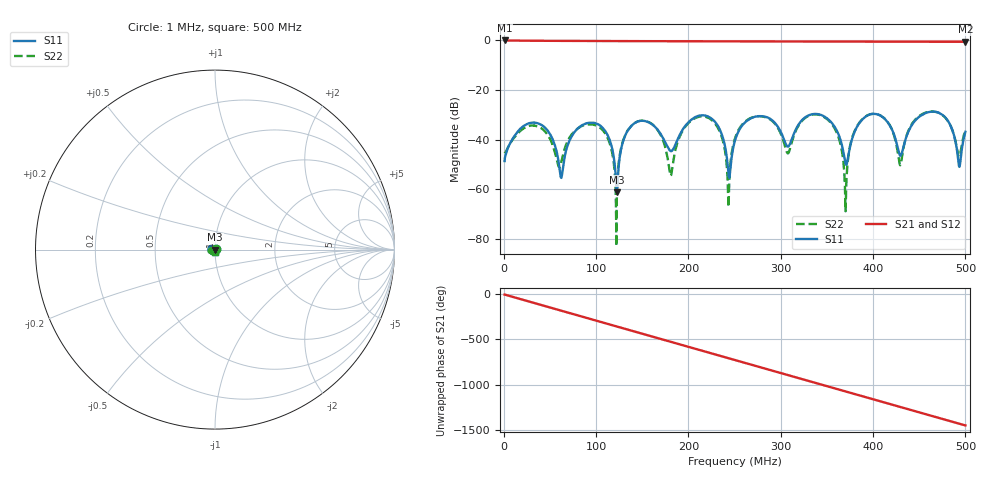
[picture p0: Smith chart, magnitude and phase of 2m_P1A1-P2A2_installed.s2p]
! MS46122B
! 1746301/73750021
! 11/1/2023 5:03:45 PM
! C:\USERS\SPEGWAL\DOWNLOADS\SAURABH\REACH\NODES\FRONT END\MEASUREMENTS\MEASURED S-PARAMETERS_01-11-2023\CABLES\2M_P1A1-P2A2_FIXED.S2P
! CHANNEL.1
! TR.MEASUREMENT
! CORRECTED.DATA
# GHZ S RI R 50.0
! FREQ.GHZ  S11RE  S11IM  S21RE  S21IM  S12RE  S12IM  S22RE  S22IM
!; PortSelection: Port_12
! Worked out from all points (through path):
!   2001 points, 1 MHz to 500 MHz, reference 50 ohm
!   highest |S21| = -0.02 dB at 1.25 MHz (marker M1); lowest = -0.5 dB at 500 MHz (marker M2)
!   group delay of S21, straight-line fit = 8.05 ns
!   lowest |S11| = -61.2 dB at 122.5 MHz (marker M3), VSWR 1.00, Z = 50.1 + j0.000771 ohm
!   |S11| at or under -10 dB: start of sweep to end of sweep
!   |S22| runs from -82.9 to -28.6 dB; largest |S21 - S12| = 0.0037
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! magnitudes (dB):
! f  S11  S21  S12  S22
! 1 MHz  -48.6  0.0  0.0  -45.5
! 1.25 MHz  -47.5  0.0  0.0  -45.4
! 36.18 MHz  -33.3  -0.1  -0.1  -34.6
! 62.38 MHz  -55.4  -0.2  -0.2  -49.1
! 84.33 MHz  -34.3  -0.2  -0.2  -34.5
! 110.3 MHz  -36.7  -0.3  -0.3  -37.7
! 122.5 MHz  -61.2  -0.3  -0.3  -63.2
! 136.2 MHz  -35.3  -0.3  -0.3  -35.3
! 167.4 MHz  -36.3  -0.3  -0.3  -36.5
! 180.9 MHz  -44.6  -0.3  -0.3  -54.6
! 223.3 MHz  -31.0  -0.4  -0.4  -31.5
! 243.5 MHz  -53.9  -0.4  -0.4  -67.1
! 250.5 MHz  -40.3  -0.4  -0.4  -39.5
! 307.9 MHz  -42.8  -0.4  -0.4  -45.5
! 333.8 MHz  -29.8  -0.4  -0.5  -29.9
! 358.8 MHz  -35.0  -0.5  -0.5  -35.7
! 370.3 MHz  -49.7  -0.5  -0.5  -68.8
! 386 MHz  -32.9  -0.5  -0.5  -32.8
! 416.9 MHz  -33.5  -0.5  -0.5  -33.5
! 429.4 MHz  -46.5  -0.5  -0.5  -50.3
! 455.6 MHz  -29.5  -0.5  -0.5  -29.3
! 500 MHz  -36.8  -0.5  -0.6  -36.0
